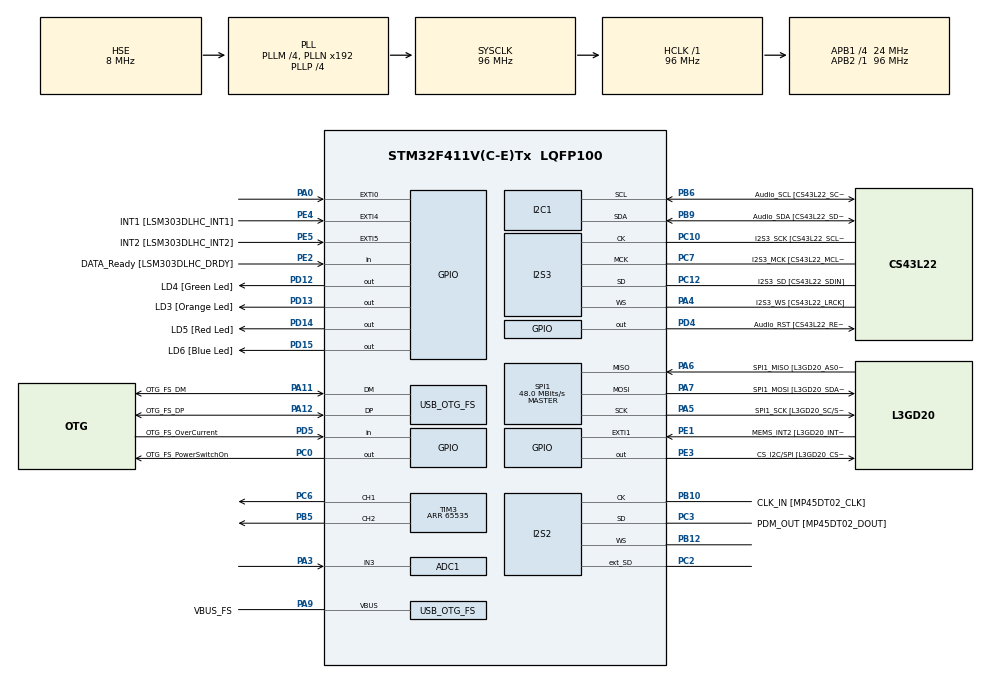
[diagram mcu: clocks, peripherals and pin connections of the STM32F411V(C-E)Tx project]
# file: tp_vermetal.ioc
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ADC1.Channel-0\#ChannelRegularConversion=ADC_CHANNEL_3
ADC1.NbrOfConversionFlag=1
ADC1.Rank-0\#ChannelRegularConversion=1
ADC1.SamplingTime-0\#ChannelRegularConversion=ADC_SAMPLETIME_3CYCLES
ADC1.master=1
I2S2.AudioFreq=I2S_AUDIOFREQ_96K
I2S2.ErrorAudioFreq=0.15 %
I2S2.FullDuplexMode=I2S_FULLDUPLEXMODE_ENABLE
I2S2.Instance=SPI$Index
I2S2.RealAudioFreq=96.153 KHz
I2S2.VirtualMode=I2S_MODE_MASTER
I2S3.AudioFreq=I2S_AUDIOFREQ_96K
I2S3.ErrorAudioFreq=-6.99 %
I2S3.FullDuplexMode=I2S_FULLDUPLEXMODE_DISABLE
I2S3.Instance=SPI$Index
I2S3.RealAudioFreq=89.285 KHz
I2S3.VirtualMode=I2S_MODE_MASTER
Mcu.Family=STM32F4
Mcu.Name=STM32F411V(C-E)Tx
Mcu.Package=LQFP100
NVIC.OTG_FS_IRQn=true\:0\:0\:false\:false\:true\:true
NVIC.PriorityGroup=NVIC_PRIORITYGROUP_0
NVIC.TIM1_UP_TIM10_IRQn=true\:0\:0\:false\:false\:true\:false
NVIC.TimeBase=TIM1_UP_TIM10_IRQn
NVIC.TimeBaseIP=TIM10
PA0-WKUP.GPIO_ModeDefaultEXTI=GPIO_MODE_EVT_RISING
PA0-WKUP.Signal=GPXTI0
PA10.GPIO_Label=OTG_FS_ID
PA10.Signal=USB_OTG_FS_ID
PA11.GPIO_Label=OTG_FS_DM
PA11.Mode=Device_Only
PA11.Signal=USB_OTG_FS_DM
PA12.GPIO_Label=OTG_FS_DP
PA12.Mode=Device_Only
PA12.Signal=USB_OTG_FS_DP
PA13.GPIO_Label=SWDIO
PA13.Mode=Serial_Wire
PA13.Signal=SYS_JTMS-SWDIO
PA14.GPIO_Label=SWCLK
PA14.Mode=Serial_Wire
PA14.Signal=SYS_JTCK-SWCLK
PA3.Signal=ADCx_IN3
PA4.GPIO_Label=I2S3_WS [CS43L22_LRCK]
PA4.GPIO_Mode=GPIO_MODE_AF_PP
PA4.GPIO_PuPd=GPIO_NOPULL
PA4.GPIO_Speed=GPIO_SPEED_FREQ_LOW
PA4.Mode=Half_Duplex_Master
PA4.Signal=I2S3_WS
PA5.GPIO_Label=SPI1_SCK [L3GD20_SC/SPC]
PA5.Mode=Full_Duplex_Master
PA5.Signal=SPI1_SCK
PA6.GPIO_Label=SPI1_MISO [L3GD20_AS0/SDO]
PA6.Mode=Full_Duplex_Master
PA6.Signal=SPI1_MISO
PA7.GPIO_Label=SPI1_MOSI [L3GD20_SDA/SDI/SDO]
PA7.Mode=Full_Duplex_Master
PA7.Signal=SPI1_MOSI
PA9.GPIO_Label=VBUS_FS
PA9.Mode=Activate_VBUS
PA9.Signal=USB_OTG_FS_VBUS
PB10.GPIO_Label=CLK_IN [MP45DT02_CLK]
PB10.Mode=Full_Duplex_Master
PB10.Signal=I2S2_CK
PB12.Mode=Full_Duplex_Master
PB12.Signal=I2S2_WS
PB3.GPIO_Label=SWO
PB3.Signal=SYS_JTDO-SWO
PB5.Signal=S_TIM3_CH2
PB6.GPIO_Label=Audio_SCL [CS43L22_SCL]
PB6.GPIO_Mode=GPIO_MODE_AF_OD
PB6.GPIO_PuPd=GPIO_NOPULL
PB6.GPIO_Speed=GPIO_SPEED_FREQ_LOW
PB6.Mode=I2C
PB6.Signal=I2C1_SCL
PB9.GPIO_Label=Audio_SDA [CS43L22_SDA]
PB9.GPIO_Mode=GPIO_MODE_AF_OD
PB9.GPIO_PuPd=GPIO_NOPULL
PB9.GPIO_Speed=GPIO_SPEED_FREQ_LOW
PB9.Mode=I2C
PB9.Signal=I2C1_SDA
PC0.GPIO_Label=OTG_FS_PowerSwitchOn
PC0.PinState=GPIO_PIN_SET
PC0.Signal=GPIO_Output
PC10.GPIO_Label=I2S3_SCK [CS43L22_SCLK]
PC10.GPIO_Mode=GPIO_MODE_AF_PP
PC10.GPIO_PuPd=GPIO_NOPULL
PC10.GPIO_Speed=GPIO_SPEED_FREQ_LOW
PC10.Mode=Half_Duplex_Master
PC10.Signal=I2S3_CK
PC12.GPIO_Label=I2S3_SD [CS43L22_SDIN]
PC12.GPIO_Mode=GPIO_MODE_AF_PP
PC12.GPIO_PuPd=GPIO_NOPULL
PC12.GPIO_Speed=GPIO_SPEED_FREQ_LOW
PC12.Mode=Half_Duplex_Master
PC12.Signal=I2S3_SD
PC14-OSC32_IN.GPIO_Label=PC14-OSC32_IN
PC14-OSC32_IN.Mode=LSE-External-Oscillator
PC14-OSC32_IN.Signal=RCC_OSC32_IN
PC15-OSC32_OUT.GPIO_Label=PC15-OSC32_OUT
PC15-OSC32_OUT.Mode=LSE-External-Oscillator
PC15-OSC32_OUT.Signal=RCC_OSC32_OUT
PC2.Mode=Full_Duplex_Master
PC2.Signal=I2S2_ext_SD
PC3.GPIO_Label=PDM_OUT [MP45DT02_DOUT]
PC3.Mode=Full_Duplex_Master
PC3.Signal=I2S2_SD
PC6.Signal=S_TIM3_CH1
PC7.GPIO_Label=I2S3_MCK [CS43L22_MCLK]
PC7.GPIO_Mode=GPIO_MODE_AF_PP
PC7.GPIO_PuPd=GPIO_NOPULL
PC7.GPIO_Speed=GPIO_SPEED_FREQ_LOW
PC7.Mode=Master_Clock_Activated
PC7.Signal=I2S3_MCK
PD12.GPIO_Label=LD4 [Green Led]
PD12.GPIO_PuPd=GPIO_NOPULL
PD12.GPIO_Speed=GPIO_SPEED_FREQ_LOW
PD12.Signal=GPIO_Output
PD13.GPIO_Label=LD3 [Orange Led]
PD13.GPIO_PuPd=GPIO_NOPULL
PD13.GPIO_Speed=GPIO_SPEED_FREQ_HIGH
PD13.Signal=GPIO_Output
PD14.GPIO_Label=LD5 [Red Led]
PD14.GPIO_PuPd=GPIO_NOPULL
PD14.GPIO_Speed=GPIO_SPEED_FREQ_LOW
PD14.Signal=GPIO_Output
PD15.GPIO_Label=LD6 [Blue Led]
PD15.GPIO_PuPd=GPIO_NOPULL
PD15.GPIO_Speed=GPIO_SPEED_FREQ_LOW
PD15.Signal=GPIO_Output
PD4.GPIO_Label=Audio_RST [CS43L22_RESET]
PD4.Signal=GPIO_Output
PD5.GPIO_Label=OTG_FS_OverCurrent
PD5.Signal=GPIO_Input
PE1.GPIO_Label=MEMS_INT2 [L3GD20_INT2]
PE1.GPIO_ModeDefaultEXTI=GPIO_MODE_EVT_RISING
PE1.Signal=GPXTI1
PE2.GPIO_Label=DATA_Ready [LSM303DLHC_DRDY]
PE2.Signal=GPIO_Input
PE3.GPIO_Label=CS_I2C/SPI [L3GD20_CS_I2C/SPI]
PE3.Signal=GPIO_Output
PE4.GPIO_Label=INT1 [LSM303DLHC_INT1]
PE4.GPIO_ModeDefaultEXTI=GPIO_MODE_EVT_RISING
PE4.Signal=GPXTI4
PE5.GPIO_Label=INT2 [LSM303DLHC_INT2]
PE5.GPIO_ModeDefaultEXTI=GPIO_MODE_EVT_RISING
PE5.Signal=GPXTI5
PH0\ -\ OSC_IN.GPIO_Label=PH0-OSC_IN
PH0\ -\ OSC_IN.Mode=HSE-External-Oscillator
PH0\ -\ OSC_IN.Signal=RCC_OSC_IN
PH1\ -\ OSC_OUT.GPIO_Label=PH1-OSC_OUT
PH1\ -\ OSC_OUT.Mode=HSE-External-Oscillator
PH1\ -\ OSC_OUT.Signal=RCC_OSC_OUT
ProjectManager.HeapSize=0x200
ProjectManager.StackSize=0x400
ProjectManager.TargetToolchain=TrueSTUDIO
RCC.48MHZClocksFreq_Value=48000000
RCC.AHBFreq_Value=96000000
RCC.APB1CLKDivider=RCC_HCLK_DIV4
RCC.APB1Freq_Value=24000000
RCC.APB1TimFreq_Value=48000000
RCC.APB2Freq_Value=96000000
RCC.APB2TimFreq_Value=96000000
RCC.CortexFreq_Value=96000000
RCC.HCLKFreq_Value=96000000
RCC.HSE_VALUE=8000000
RCC.HSI_VALUE=16000000
RCC.PLLI2SM=5
RCC.PLLI2SN=200
RCC.PLLM=4
RCC.PLLP=RCC_PLLP_DIV4
RCC.PLLQ=8
RCC.SYSCLKFreq_VALUE=96000000
RCC.SYSCLKSource=RCC_SYSCLKSOURCE_PLLCLK
RCC.VCOOutputFreq_Value=384000000
SH.ADCx_IN3.0=ADC1_IN3,IN3
SH.S_TIM3_CH1.0=TIM3_CH1,PWM Generation1 CH1
SH.S_TIM3_CH2.0=TIM3_CH2,PWM Generation2 CH2
SPI1.BaudRatePrescaler=SPI_BAUDRATEPRESCALER_2
SPI1.CalculateBaudRate=48.0 MBits/s
SPI1.Direction=SPI_DIRECTION_2LINES
SPI1.Mode=SPI_MODE_MASTER
SPI1.VirtualType=VM_MASTER
TIM3.Channel-PWM\ Generation1\ CH1=TIM_CHANNEL_1
TIM3.Channel-PWM\ Generation2\ CH2=TIM_CHANNEL_2
TIM3.Period=65535
USB_DEVICE.CLASS_NAME_FS=CDC
USB_DEVICE.VirtualMode=Cdc
USB_DEVICE.VirtualModeFS=Cdc_FS
USB_OTG_FS.VirtualMode=Device_Only
VP_SYS_VS_tim10.Mode=TIM10
VP_TIM3_VS_ClockSourceINT.Mode=Internal
VP_USB_DEVICE_VS_USB_DEVICE_CDC_FS.Mode=CDC_FS
board=32F411EDISCOVERY

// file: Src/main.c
/**
  ******************************************************************************
  * @file           : main.c
  * @brief          : Main program body
  ******************************************************************************
  * This notice applies to any and all portions of this file
  * that are not between comment pairs USER CODE BEGIN and
  * USER CODE END. Other portions of this file, whether
  * inserted by the user or by software development tools
  * are owned by their respective copyright owners.
  *
  * Copyright (c) 2019 STMicroelectronics International N.V.
  * All rights reserved.
  *
  * Redistribution and use in source and binary forms, with or without
  * modification, are permitted, provided that the following conditions are met:
  *
  * 1. Redistribution of source code must retain the above copyright notice,
  *    this list of conditions and the following disclaimer.
  * 2. Redistributions in binary form must reproduce the above copyright notice,
  *    this list of conditions and the following disclaimer in the documentation
  *    and/or other materials provided with the distribution.
  * 3. Neither the name of STMicroelectronics nor the names of other
  *    contributors to this software may be used to endorse or promote products
  *    derived from this software without specific written permission.
  * 4. This software, including modifications and/or derivative works of this
  *    software, must execute solely and exclusively on microcontroller or
  *    microprocessor devices manufactured by or for STMicroelectronics.
  * 5. Redistribution and use of this software other than as permitted under
  *    this license is void and will automatically terminate your rights under
  *    this license.
  *
  * THIS SOFTWARE IS PROVIDED BY STMICROELECTRONICS AND CONTRIBUTORS "AS IS"
  * AND ANY EXPRESS, IMPLIED OR STATUTORY WARRANTIES, INCLUDING, BUT NOT
  * LIMITED TO, THE IMPLIED WARRANTIES OF MERCHANTABILITY, FITNESS FOR A
  * PARTICULAR PURPOSE AND NON-INFRINGEMENT OF THIRD PARTY INTELLECTUAL PROPERTY
  * RIGHTS ARE DISCLAIMED TO THE FULLEST EXTENT PERMITTED BY LAW. IN NO EVENT
  * SHALL STMICROELECTRONICS OR CONTRIBUTORS BE LIABLE FOR ANY DIRECT, INDIRECT,
  * INCIDENTAL, SPECIAL, EXEMPLARY, OR CONSEQUENTIAL DAMAGES (INCLUDING, BUT NOT
  * LIMITED TO, PROCUREMENT OF SUBSTITUTE GOODS OR SERVICES; LOSS OF USE, DATA,
  * OR PROFITS; OR BUSINESS INTERRUPTION) HOWEVER CAUSED AND ON ANY THEORY OF
  * LIABILITY, WHETHER IN CONTRACT, STRICT LIABILITY, OR TORT (INCLUDING
  * NEGLIGENCE OR OTHERWISE) ARISING IN ANY WAY OUT OF THE USE OF THIS SOFTWARE,
  * EVEN IF ADVISED OF THE POSSIBILITY OF SUCH DAMAGE.
  *
  ******************************************************************************
  */
#include "main.h"
#include "stm32f4xx_hal.h"
#include "adc.h"
#include "i2c.h"
#include "i2s.h"
#include "spi.h"
#include "tim.h"
#include "usb_device.h"
#include "gpio.h"

/* USER CODE BEGIN Includes */
#include "stdio.h"
#include "stdarg.h"
#include "stdbool.h"
#include <PID_v1.h> //include da library PID
#include "usbd_cdc_if.h"
#include "../../BSP/STM32F411E-Discovery/stm32f411e_discovery_accelerometer.h"  //include para aceder ao ACC

#include <math.h>

// variáveis PID necessárias para implementar library
double Setpoint, Input, Output;
PidType* myPID;
FloatType myPIDInput=12;
FloatType myPIDOutput;
FloatType myPIDSetpoint=6;
FloatType Kp=5, Ki=2, Kd=3;

// variáveis PID criadas para  simular a utilização do PID
int8_t proporcional=0;
int8_t integral= 0;
int8_t derivativo=0;
int8_t kp,ki,kd;
int8_t last_erro=0;

int16_t samplesACC_X[10];
int16_t samplesACC_Y[10];
int16_t samplesACC_Z[10];

bool getValueADC=false;   // variável auxiliar para ler o ADC

int16_t data[3];  // variável auxiliar para ler o ACC

/* USER CODE END Includes */

/* USER CODE BEGIN PV */
/* Private variables ---------------------------------------------------------*/

ADC_HandleTypeDef hadc1;  //Structure definition to ADC

/* USER CODE END PV */

void SystemClock_Config(void);

/* USER CODE BEGIN PFP */
/* Private function prototypes -----------------------------------------------*/

/* USER CODE END PFP */

/* USER CODE BEGIN 0 */

enum
 {
 	PERIPHERAL_USART,	// UART serial device
 	PERIPHERAL_USB 		// USB serial device
 };

/**
  * @brief  Function implementing the Printf for COM
  * @param  argument: Not used
  * @retval None
*/
void peripheralPrintf(uint16_t peripheral, char *format, ...)
 {
 	char buffer[64];

 	va_list args;
 	va_start(args, format);
 	vsprintf(buffer, format, args);
 	va_end(args);

 	switch(peripheral)
 	{
 	case PERIPHERAL_USART:
 		// TODO:
 		break;
 	case PERIPHERAL_USB:
 		USB_TransmitBuffer((uint8_t *)buffer, strlen(buffer));
 		break;
 	default:
 		break;
 	}
 }

/**
  * @brief  Função para ler os valores ACC e retorna para o main os valores
  * @param  argument: Not used
  * @retval Array [3] Values of ACC , é uma variável inteiro de 2 bytes que permite valores positivos e negativos [ex: data[1]=; data[2]=; data[3]= ]
*/
uint16_t* ReadACC()
{
	int32_t sumX=0;
	int32_t sumY=0;
	int32_t sumZ=0;

	int32_t avgX=0;
	int32_t avgY=0;
	int32_t avgZ=0;

	int32_t auxX=0;
	int32_t auxY=0;
	int32_t auxZ=0;

	int16_t stdX=0;
	int16_t stdY=0;
	int16_t stdZ=0;
	//ler os valores adc e coloca na variável data os valores

	for(int i=0; i<=9; i++)
	{
		 // adquire 10 amostra do ACC
		BSP_ACCELERO_GetXYZ(data);
		samplesACC_X[i]=data[0];
		samplesACC_Y[i]=data[1];
		samplesACC_Z[i]=data[2];

		// somatorio das amostras recolhidas
		sumX=sumX+ samplesACC_X[i];
		sumY=sumY+ samplesACC_Y[i];
		sumZ=sumZ+ samplesACC_Z[i];

		//quando recolher 10 amostras
		if(i==9)
		{
			// calcula média para cada eixo
			avgX=sumX/10;
			avgY=sumY/10;
			avgZ=sumZ/10;

			for(int i=0; i<=9; i++)
			{
				//inicia calculo do desvio padrão
				auxX += (samplesACC_X[i]-avgX)*(samplesACC_X[i]-avgX);
				auxY += (samplesACC_Y[i]-avgY)*(samplesACC_Y[i]-avgY);
				auxZ += (samplesACC_Z[i]-avgZ)*(samplesACC_Z[i]-avgZ);

				if(i==9)
				{
					stdX=sqrt(auxX/9);
					stdY=sqrt(auxY/9);
					stdZ=sqrt(auxZ/9);
				}
			}
		}
	}

	// no final retorna os valores do desvio padrão
	data[0]=stdX;
	data[1]=stdY;
	data[2]=stdZ;

	return &data;  // retorna os valores lidos para a função main()
}

/**
  * @brief  Função para ler os valores de temperatura apartir de uma entrada ADC
  * @param  argument: Not used
  * @retval Retorna um valor de temperatura que será um inteiro  de 1 byte [ex: adc_value=],
  * caso não seja possivel aceder ao ADC retorna um valor Nulo [adc_value=0]
*/
uint16_t ReadLM35()
{
		  HAL_ADC_Start(&hadc1);    //sempre que necessita de efetuar uma nova leitura, é necessário dar um pulso

		  int8_t adc_value=0;

		  if((HAL_ADC_PollForConversion(&hadc1, 100) == HAL_OK) || getValueADC==true)    //se o ADC estiver funcional
		  {
			  getValueADC=true;
			  adc_value=HAL_ADC_GetValue(&hadc1);  // lê o valor de temperatura

			  HAL_ADC_Stop(&hadc1);  // e no fim, faz stop do ADC
		  }
		  else  	 // caso o ADC não dê uma resposta OK de funcionamento												// if ADC it's not working
		  {
			  adc_value=0;

			  return 0;		// return value 0
		  }

    	  return adc_value;
}

/**
  * @brief  Função para implementar o PID
  * @param  argument: Os parametros da função são o valor de temperatura atual e o valor de setpoint recebido através da porta COM,
  * ambos os valores são inteiros de 1 byte e podem ser negativos ou positivos
  * @retval none
*/
void PID(int8_t PIDinput, int8_t PIDsetpoint)
{

	//	PID_init(myPID,Kp,Ki,Kd, PID_Direction_Direct);
	//	PID_SetMode(myPID, PID_Mode_Automatic);
	//
	//	myPID->myInput= PIDinput;
	//	myPID->mySetpoint=PIDsetpoint;
	//	myPID->myInput=myPIDInput;
	//	myPID->mySetpoint=myPIDSetpoint;

		kp=2; // ganho proporcional
		ki=5; //ganho integral
		kd=2; // ganho derivativo
		int8_t erro= (PIDsetpoint- PIDinput); // calculo do erro (diferença entre o valor atual de temperatura e o valor de setpoint)
		//uint8_t erro_d= (PIDinput- PIDsetpoint);

      // calculo de PID
		proporcional=kp*erro;
		integral= (integral+erro)*ki;
		derivativo=(erro-last_erro)*kd;

		int8_t pwm= proporcional+ integral+ derivativo;

		last_erro=erro;

		if(PIDinput>PIDsetpoint)    // caso a temperatura atual seja superior ao setpoint (está mais quente doque o desejado), ativa a ventoinha
		{
			HAL_GPIO_WritePin(LD3_GPIO_Port, LD3_Pin,1);
			HAL_GPIO_WritePin(LD3_GPIO_Port, LD4_Pin,0);
			__HAL_TIM_SET_COMPARE(&htim3,TIM_CHANNEL_1,pwm);
		}
		else if(PIDinput<PIDsetpoint)   // caso a temperatura atual seja inferior ao setpoint (está mais frio doque o desejado), ativa a lâmpada
		{
			HAL_GPIO_WritePin(LD3_GPIO_Port, LD3_Pin,0);
			HAL_GPIO_WritePin(LD3_GPIO_Port, LD4_Pin,1);
			__HAL_TIM_SET_COMPARE(&htim3,TIM_CHANNEL_2,pwm);
		}
		else    // caso a temperatura atual coincida com o valor de setpoint, não executa nenhuma tarefa
		{
			HAL_GPIO_WritePin(LD3_GPIO_Port, LD3_Pin,0);
			HAL_GPIO_WritePin(LD3_GPIO_Port, LD4_Pin,0);
			integral=0;
			pwm=0;
		}
}

/* USER CODE END 0 */

int main(void)
{

  /* MCU Configuration----------------------------------------------------------*/

  /* Reset of all peripherals, Initializes the Flash interface and the Systick. */
  HAL_Init();

  /* Configure the system clock */
  SystemClock_Config();

  /* Initialize all configured peripherals */
  MX_GPIO_Init();
  MX_I2C1_Init();
  MX_I2S2_Init();
  MX_I2S3_Init();
  MX_SPI1_Init();
  MX_ADC1_Init();
  MX_USB_DEVICE_Init();
  MX_TIM3_Init();
  /* USER CODE BEGIN 2 */

    BSP_ACCELERO_Init();	  // faz init do ACC

    //local variables
    uint16_t* ValueACC={0,0,0};
    int8_t ValueLM35=0;

   	HAL_TIM_PWM_Start(&htim3, TIM_CHANNEL_1);  //start PWM ventoinha
   	HAL_TIM_PWM_Start(&htim3, TIM_CHANNEL_2);  //start PWM lampada
  /* USER CODE END 2 */

  /* Infinite loop */
  /* USER CODE BEGIN WHILE */
  while (1)   //infinite loop
  {
  /* USER CODE END WHILE */

  /* USER CODE BEGIN 3 */

	  ValueACC=ReadACC();
	  HAL_Delay(100); // wait 100ms

	  ValueLM35=ReadLM35();   //*5/(1023))/0.01   -32)/1.8
	  int8_t ValueLM35_Conv=ValueLM35*0.5;

	  HAL_Delay(100); // wait 100ms

	  // valores hardcode para testar funcionamento do PID
	  //uint8_t setpoint=10;
	  //ValueLM35_Conv=23;
	  //PID(ValueLM35_Conv, setpoint);
	  int8_t setpoint = (int8_t)atoi((char*)received_data);
	  if(setpoint!=0)  // quando recebe alguma coisa na porta COM
	  {
		  //int8_t setpoint = (int8_t)atoi((char*)received_data);  //atribui o valor que recebeu à variavel setpoint
		  PID(ValueLM35_Conv, setpoint); //executa a função PID
	  }
	  //if setpoint is different of zero
	  if(USB_ReceiveString()==1)  // quando recebe alguma coisa na porta COM
	  {
		  int8_t setpoint = (int8_t)atoi((char*)received_data);  //atribui o valor que recebeu à variavel setpoint
		  PID(ValueLM35_Conv, setpoint); //executa a função PID
	  }
	  // else skip pid function

	  // imprime na porta COM os valores obtidos nas leituras dos sensores
		  peripheralPrintf(PERIPHERAL_USB, "X:\t");
		  peripheralPrintf(PERIPHERAL_USB, "%d",ValueACC[0]);
		  peripheralPrintf(PERIPHERAL_USB, " Y:\t");
		  peripheralPrintf(PERIPHERAL_USB, "%d",ValueACC[1]);
		  peripheralPrintf(PERIPHERAL_USB, " Z:\t");
		  peripheralPrintf(PERIPHERAL_USB, "%d",ValueACC[2]);
		  peripheralPrintf(PERIPHERAL_USB, " T:\t");
		  peripheralPrintf(PERIPHERAL_USB, "%d",ValueLM35_Conv);
		  peripheralPrintf(PERIPHERAL_USB, "\n");
  }
  /* USER CODE END 3 */

}

void SystemClock_Config(void)
{

  RCC_OscInitTypeDef RCC_OscInitStruct;
  RCC_ClkInitTypeDef RCC_ClkInitStruct;
  RCC_PeriphCLKInitTypeDef PeriphClkInitStruct;

    /**Configure the main internal regulator output voltage
    */
  __HAL_RCC_PWR_CLK_ENABLE();

  __HAL_PWR_VOLTAGESCALING_CONFIG(PWR_REGULATOR_VOLTAGE_SCALE1);

    /**Initializes the CPU, AHB and APB busses clocks
    */
  RCC_OscInitStruct.OscillatorType = RCC_OSCILLATORTYPE_HSE;
  RCC_OscInitStruct.HSEState = RCC_HSE_ON;
  RCC_OscInitStruct.PLL.PLLState = RCC_PLL_ON;
  RCC_OscInitStruct.PLL.PLLSource = RCC_PLLSOURCE_HSE;
  RCC_OscInitStruct.PLL.PLLM = 4;
  RCC_OscInitStruct.PLL.PLLN = 192;
  RCC_OscInitStruct.PLL.PLLP = RCC_PLLP_DIV4;
  RCC_OscInitStruct.PLL.PLLQ = 8;
  if (HAL_RCC_OscConfig(&RCC_OscInitStruct) != HAL_OK)
  {
    _Error_Handler(__FILE__, __LINE__);
  }

    /**Initializes the CPU, AHB and APB busses clocks
    */
  RCC_ClkInitStruct.ClockType = RCC_CLOCKTYPE_HCLK|RCC_CLOCKTYPE_SYSCLK
                              |RCC_CLOCKTYPE_PCLK1|RCC_CLOCKTYPE_PCLK2;
  RCC_ClkInitStruct.SYSCLKSource = RCC_SYSCLKSOURCE_PLLCLK;
  RCC_ClkInitStruct.AHBCLKDivider = RCC_SYSCLK_DIV1;
  RCC_ClkInitStruct.APB1CLKDivider = RCC_HCLK_DIV4;
  RCC_ClkInitStruct.APB2CLKDivider = RCC_HCLK_DIV1;

  if (HAL_RCC_ClockConfig(&RCC_ClkInitStruct, FLASH_LATENCY_3) != HAL_OK)
  {
    _Error_Handler(__FILE__, __LINE__);
  }

  PeriphClkInitStruct.PeriphClockSelection = RCC_PERIPHCLK_I2S;
  PeriphClkInitStruct.PLLI2S.PLLI2SN = 200;
  PeriphClkInitStruct.PLLI2S.PLLI2SM = 5;
  PeriphClkInitStruct.PLLI2S.PLLI2SR = 2;
  if (HAL_RCCEx_PeriphCLKConfig(&PeriphClkInitStruct) != HAL_OK)
  {
    _Error_Handler(__FILE__, __LINE__);
  }

    /**Configure the Systick interrupt time
    */
  HAL_SYSTICK_Config(HAL_RCC_GetHCLKFreq()/1000);

    /**Configure the Systick
    */
  HAL_SYSTICK_CLKSourceConfig(SYSTICK_CLKSOURCE_HCLK);

  /* SysTick_IRQn interrupt configuration */
  HAL_NVIC_SetPriority(SysTick_IRQn, 0, 0);
}

void HAL_TIM_PeriodElapsedCallback(TIM_HandleTypeDef *htim)
{
  if (htim->Instance == TIM10) {
    HAL_IncTick();
  }
}

void _Error_Handler(char *file, int line)
{
  while(1)
  {
  }
}

/************************ (C) COPYRIGHT STMicroelectronics *****END OF FILE****/
